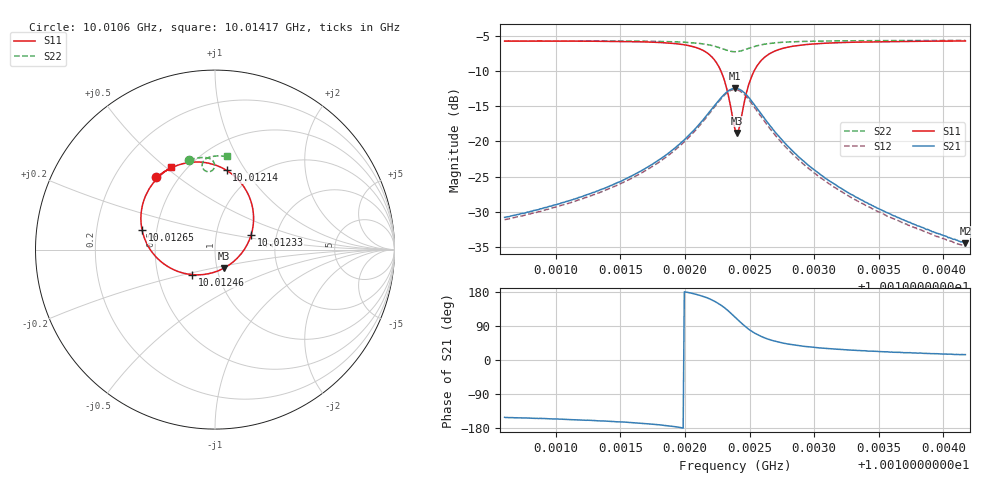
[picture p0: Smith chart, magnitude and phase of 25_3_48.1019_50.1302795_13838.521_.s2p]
#  HZ  S  RI  R  50.00
! Rohde & Schwarz Vector Network Analyzer
! Rohde-Schwarz,ZNB20-2Port,1311601062101988,3.16
! Created: UTC 12/23/2023, 3:37:06 AM
! freq[Hz]  re:S11  im:S11  re:S21  im:S21  re:S12  im:S12  re:S22  im:S22
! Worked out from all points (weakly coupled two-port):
!   401 points, 10.0106 GHz to 10.01417 GHz, reference 50 ohm
!   highest |S21| = -12.43 dB at 10.01239 GHz (marker M1); lowest = -34.5 dB at 10.01417 GHz (marker M2)
!   lowest |S11| = -18.8 dB at 10.0124 GHz (marker M3), VSWR 1.26, Z = 53.7 - j11.4 ohm
!   |S11| at or under -10 dB: 10.01228 GHz to 10.01253 GHz (255.3 kHz wide, 0.00255 % of centre)
!   |S22| runs from -7.2 to -5.6 dB; largest |S21 - S12| = 0.011
!   S11 on the Smith chart (normalised r, x): 10.0106 GHz: 0.38, +0.42; 10.01214 GHz: 0.75, +0.83; 10.01233 GHz: 1.48, +0.25; 10.01246 GHz: 0.75, -0.22; 10.01265 GHz: 0.41, +0.11; 10.01417 GHz: 0.42, +0.52
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1.0010603e10  -0.3272 0.4019  -0.0253 -0.0138  -0.0236 -0.0145  -0.1432 0.4997
1.00112e10  -0.2698 0.4418  -0.0376 -0.0148  -0.0354 -0.0161  -0.1022 0.5095
1.0011513e10  -0.2223 0.4648  -0.0504 -0.0149  -0.0479 -0.0166  -0.0784 0.5127
1.0011798e10  -0.1489 0.4845  -0.073 -0.0118  -0.0697 -0.0147  -0.053 0.5128
1.0011985e10  -0.06 0.4855  -0.1011 -0.00086  -0.0975 -0.00647  -0.0326 0.5084
1.0012137e10  0.065 0.4415  -0.1384 0.0293  -0.1363 0.0208  -0.0125 0.4953
1.0012199e10  0.134 0.384  -0.1564 0.0572  -0.1558 0.0477  -0.00508 0.4838
1.0012253e10  0.1902 0.296  -0.1664 0.0957  -0.1679 0.0849  -0.00189 0.4696
1.0012297e10  0.2149 0.187  -0.1639 0.1374  -0.1667 0.1279  -0.00485 0.455
1.0012333e10  0.2012 0.0808  -0.1473 0.1748  -0.1512 0.1666  -0.0126 0.4434
1.0012387e10  0.1 -0.0697  -0.0937 0.22  -0.0983 0.2128  -0.0336 0.434
1.0012404e10  0.0474 -0.1045  -0.0706 0.2273  -0.0755 0.2204  -0.0415 0.4341
1.0012422e10  -0.0104 -0.128  -0.0478 0.23  -0.0522 0.2232  -0.0489 0.4362
1.0012458e10  -0.1278 -0.1394  -0.00339 0.2226  -0.00824 0.2158  -0.0614 0.4443
1.0012494e10  -0.2298 -0.1122  0.0323 0.2026  0.0265 0.1963  -0.0689 0.4557
1.0012538e10  -0.3185 -0.0511  0.0594 0.1718  0.0519 0.1666  -0.0715 0.4697
1.0012654e10  -0.4067 0.1105  0.0773 0.1055  0.0701 0.1031  -0.0626 0.4946
1.0012797e10  -0.407 0.2338  0.0684 0.0619  0.0623 0.0617  -0.0459 0.5088
1.0012984e10  -0.3782 0.3177  0.0534 0.036  0.0492 0.0364  -0.0261 0.5166
1.001327e10  -0.3358 0.3811  0.0384 0.0191  0.0355 0.0199  -0.00113 0.521
1.0013582e10  -0.2988 0.4185  0.0286 0.0111  0.0265 0.0118  0.0228 0.5219
1.001417e10  -0.2437 0.4589  0.0183 0.00464  0.0171 0.00539  0.0642 0.5198
